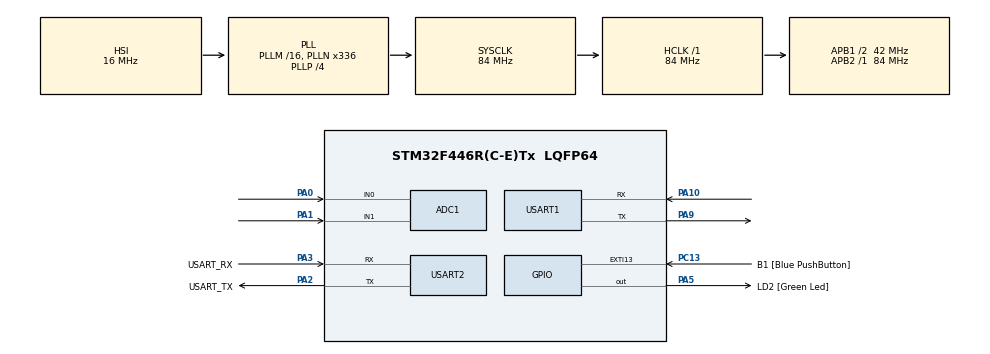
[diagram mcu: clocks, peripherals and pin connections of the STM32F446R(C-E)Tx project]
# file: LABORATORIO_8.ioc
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ADC1.Channel-0\#ChannelRegularConversion=ADC_CHANNEL_0
ADC1.Channel-1\#ChannelRegularConversion=ADC_CHANNEL_1
ADC1.ContinuousConvMode=ENABLE
ADC1.DMAContinuousRequests=ENABLE
ADC1.NbrOfConversion=2
ADC1.NbrOfConversionFlag=1
ADC1.Rank-0\#ChannelRegularConversion=1
ADC1.Rank-1\#ChannelRegularConversion=2
ADC1.SamplingTime-0\#ChannelRegularConversion=ADC_SAMPLETIME_3CYCLES
ADC1.SamplingTime-1\#ChannelRegularConversion=ADC_SAMPLETIME_3CYCLES
ADC1.ScanConvMode=ENABLE
ADC1.master=1
Dma.ADC1.0.Direction=DMA_PERIPH_TO_MEMORY
Dma.ADC1.0.FIFOMode=DMA_FIFOMODE_DISABLE
Dma.ADC1.0.Instance=DMA2_Stream0
Dma.ADC1.0.MemDataAlignment=DMA_MDATAALIGN_HALFWORD
Dma.ADC1.0.MemInc=DMA_MINC_ENABLE
Dma.ADC1.0.Mode=DMA_CIRCULAR
Dma.ADC1.0.PeriphDataAlignment=DMA_PDATAALIGN_HALFWORD
Dma.ADC1.0.PeriphInc=DMA_PINC_DISABLE
Dma.ADC1.0.Priority=DMA_PRIORITY_LOW
Dma.Request0=ADC1
Mcu.Family=STM32F4
Mcu.Name=STM32F446R(C-E)Tx
Mcu.Package=LQFP64
NVIC.ADC_IRQn=true\:0\:0\:false\:false\:true\:true\:true\:true
NVIC.DMA2_Stream0_IRQn=true\:0\:0\:false\:false\:true\:false\:true\:true
NVIC.PriorityGroup=NVIC_PRIORITYGROUP_0
NVIC.USART1_IRQn=true\:0\:0\:false\:false\:true\:true\:true\:true
NVIC.USART2_IRQn=true\:0\:0\:false\:false\:true\:true\:true\:true
PA0-WKUP.Signal=ADCx_IN0
PA1.Signal=ADCx_IN1
PA10.Mode=Asynchronous
PA10.Signal=USART1_RX
PA13.GPIO_Label=TMS
PA13.Mode=Serial_Wire
PA13.Signal=SYS_JTMS-SWDIO
PA14.GPIO_Label=TCK
PA14.Mode=Serial_Wire
PA14.Signal=SYS_JTCK-SWCLK
PA2.GPIO_Label=USART_TX
PA2.Mode=Asynchronous
PA2.Signal=USART2_TX
PA3.GPIO_Label=USART_RX
PA3.Mode=Asynchronous
PA3.Signal=USART2_RX
PA5.GPIO_Label=LD2 [Green Led]
PA5.Signal=GPIO_Output
PA9.Mode=Asynchronous
PA9.Signal=USART1_TX
PB3.GPIO_Label=SWO
PB3.Signal=SYS_JTDO-SWO
PC13.GPIO_Label=B1 [Blue PushButton]
PC13.GPIO_ModeDefaultEXTI=GPIO_MODE_IT_FALLING
PC13.Signal=GPXTI13
PC14-OSC32_IN.Mode=LSE-External-Oscillator
PC14-OSC32_IN.Signal=RCC_OSC32_IN
PC15-OSC32_OUT.Mode=LSE-External-Oscillator
PC15-OSC32_OUT.Signal=RCC_OSC32_OUT
PH0-OSC_IN.Mode=HSE-External-Oscillator
PH0-OSC_IN.Signal=RCC_OSC_IN
PH1-OSC_OUT.Mode=HSE-External-Oscillator
PH1-OSC_OUT.Signal=RCC_OSC_OUT
ProjectManager.HeapSize=0x200
ProjectManager.StackSize=0x400
ProjectManager.TargetToolchain=STM32CubeIDE
RCC.48MHZClocksFreq_Value=84000000
RCC.AHBFreq_Value=84000000
RCC.APB1CLKDivider=RCC_HCLK_DIV2
RCC.APB1Freq_Value=42000000
RCC.APB1TimFreq_Value=84000000
RCC.APB2Freq_Value=84000000
RCC.APB2TimFreq_Value=84000000
RCC.CortexFreq_Value=84000000
RCC.FLatency-AdvancedSettings=FLASH_LATENCY_2
RCC.HCLKFreq_Value=84000000
RCC.HSE_VALUE=8000000
RCC.HSI_VALUE=16000000
RCC.PLLN=336
RCC.PLLP=RCC_PLLP_DIV4
RCC.SYSCLKFreq_VALUE=84000000
RCC.SYSCLKSource=RCC_SYSCLKSOURCE_PLLCLK
RCC.USBFreq_Value=168000000
RCC.VCOOutputFreq_Value=336000000
SH.ADCx_IN0.0=ADC1_IN0,IN0
SH.ADCx_IN1.0=ADC1_IN1,IN1
USART1.VirtualMode=VM_ASYNC
USART2.VirtualMode=VM_ASYNC
board=NUCLEO-F446RE

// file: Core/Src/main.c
/* USER CODE BEGIN Header */
/**
  ******************************************************************************
  * @file           : main.c
  * @brief          : Main program body
  ******************************************************************************
  * @attention
  *
  * Copyright (c) 2026 STMicroelectronics.
  * All rights reserved.
  *
  * This software is licensed under terms that can be found in the LICENSE file
  * in the root directory of this software component.
  * If no LICENSE file comes with this software, it is provided AS-IS.
  *
  ******************************************************************************
  */
/* USER CODE END Header */
#include "main.h"

/* USER CODE BEGIN Includes */
#include <stdio.h>
/* USER CODE END Includes */

ADC_HandleTypeDef hadc1;
DMA_HandleTypeDef hdma_adc1;

UART_HandleTypeDef huart1;
UART_HandleTypeDef huart2;

/* USER CODE BEGIN PV */
volatile uint16_t ADC_VALOR[2] = {2048, 2048};
volatile uint8_t  C_ACTUAL = 0;
volatile uint8_t  ARDUINO = '-';
/* USER CODE END PV */

void SystemClock_Config(void);
static void MX_GPIO_Init(void);
static void MX_DMA_Init(void);
static void MX_ADC1_Init(void);
static void MX_USART2_UART_Init(void);
static void MX_USART1_UART_Init(void);

/* USER CODE BEGIN 0 */
int _write(int file, char *ptr, int len)
{
    HAL_UART_Transmit(&huart2, (uint8_t*)ptr, len, HAL_MAX_DELAY);
    return len;
}

void HAL_UART_RxCpltCallback(UART_HandleTypeDef *huart)
{
    if(huart->Instance == USART1)
    {
        HAL_UART_Receive_IT(&huart1, (uint8_t*)&ARDUINO, 1);
    }
}

void HAL_ADC_ConvCpltCallback(ADC_HandleTypeDef* hadc)
{
    if(hadc->Instance == ADC1)
    {
        ADC_VALOR[C_ACTUAL] = HAL_ADC_GetValue(hadc);
        C_ACTUAL = (C_ACTUAL == 0) ? 1 : 0;
    }
}
/* USER CODE END 0 */

int main(void)
{

  /* MCU Configuration--------------------------------------------------------*/

  /* Reset of all peripherals, Initializes the Flash interface and the Systick. */
  HAL_Init();

  /* Configure the system clock */
  SystemClock_Config();

  /* Initialize all configured peripherals */
  MX_GPIO_Init();
  MX_DMA_Init();
  MX_ADC1_Init();
  MX_USART2_UART_Init();
  MX_USART1_UART_Init();
  /* USER CODE BEGIN 2 */
  setbuf(stdout, NULL);
  HAL_UART_Receive_IT(&huart1, (uint8_t*)&ARDUINO, 1);
  HAL_ADC_Start_IT(&hadc1);
  /* USER CODE END 2 */

  /* Infinite loop */
  while (1)
  {

    /* USER CODE BEGIN 3 */
    HAL_GPIO_TogglePin(GPIOA, GPIO_PIN_5);

    if (ADC_VALOR[0] > 3500) {
        printf("ARRIBA\r\n");
    }
    else if (ADC_VALOR[0] < 500) {
        printf("ABAJO\r\n");
    }
    else if (ADC_VALOR[1] > 3500) {
        printf("DERECHA\r\n");
    }
    else if (ADC_VALOR[1] < 500) {
        printf("IZQUIERDA\r\n");
    }

    if (ARDUINO != '-') {
        printf("BOTON: %c\r\n", ARDUINO);
        ARDUINO = '-';
    }

    HAL_ADC_Start_IT(&hadc1);
    HAL_Delay(200);
  }
  /* USER CODE END 3 */
}

void SystemClock_Config(void)
{
  RCC_OscInitTypeDef RCC_OscInitStruct = {0};
  RCC_ClkInitTypeDef RCC_ClkInitStruct = {0};

  /** Configure the main internal regulator output voltage
  */
  __HAL_RCC_PWR_CLK_ENABLE();
  __HAL_PWR_VOLTAGESCALING_CONFIG(PWR_REGULATOR_VOLTAGE_SCALE3);

  /** Initializes the RCC Oscillators according to the specified parameters
  * in the RCC_OscInitTypeDef structure.
  */
  RCC_OscInitStruct.OscillatorType = RCC_OSCILLATORTYPE_HSI;
  RCC_OscInitStruct.HSIState = RCC_HSI_ON;
  RCC_OscInitStruct.HSICalibrationValue = RCC_HSICALIBRATION_DEFAULT;
  RCC_OscInitStruct.PLL.PLLState = RCC_PLL_ON;
  RCC_OscInitStruct.PLL.PLLSource = RCC_PLLSOURCE_HSI;
  RCC_OscInitStruct.PLL.PLLM = 16;
  RCC_OscInitStruct.PLL.PLLN = 336;
  RCC_OscInitStruct.PLL.PLLP = RCC_PLLP_DIV4;
  RCC_OscInitStruct.PLL.PLLQ = 2;
  RCC_OscInitStruct.PLL.PLLR = 2;
  if (HAL_RCC_OscConfig(&RCC_OscInitStruct) != HAL_OK)
  {
    Error_Handler();
  }

  /** Initializes the CPU, AHB and APB buses clocks
  */
  RCC_ClkInitStruct.ClockType = RCC_CLOCKTYPE_HCLK|RCC_CLOCKTYPE_SYSCLK
                              |RCC_CLOCKTYPE_PCLK1|RCC_CLOCKTYPE_PCLK2;
  RCC_ClkInitStruct.SYSCLKSource = RCC_SYSCLKSOURCE_PLLCLK;
  RCC_ClkInitStruct.AHBCLKDivider = RCC_SYSCLK_DIV1;
  RCC_ClkInitStruct.APB1CLKDivider = RCC_HCLK_DIV2;
  RCC_ClkInitStruct.APB2CLKDivider = RCC_HCLK_DIV1;

  if (HAL_RCC_ClockConfig(&RCC_ClkInitStruct, FLASH_LATENCY_2) != HAL_OK)
  {
    Error_Handler();
  }
}

static void MX_ADC1_Init(void)
{

  ADC_ChannelConfTypeDef sConfig = {0};

  /** Configure the global features of the ADC (Clock, Resolution, Data Alignment and number of conversion)
  */
  hadc1.Instance = ADC1;
  hadc1.Init.ClockPrescaler = ADC_CLOCK_SYNC_PCLK_DIV4;
  hadc1.Init.Resolution = ADC_RESOLUTION_12B;
  hadc1.Init.ScanConvMode = ENABLE;
  hadc1.Init.ContinuousConvMode = ENABLE;
  hadc1.Init.DiscontinuousConvMode = DISABLE;
  hadc1.Init.ExternalTrigConvEdge = ADC_EXTERNALTRIGCONVEDGE_NONE;
  hadc1.Init.ExternalTrigConv = ADC_SOFTWARE_START;
  hadc1.Init.DataAlign = ADC_DATAALIGN_RIGHT;
  hadc1.Init.NbrOfConversion = 2;
  hadc1.Init.DMAContinuousRequests = ENABLE;
  hadc1.Init.EOCSelection = ADC_EOC_SINGLE_CONV;
  if (HAL_ADC_Init(&hadc1) != HAL_OK)
  {
    Error_Handler();
  }

  /** Configure for the selected ADC regular channel its corresponding rank in the sequencer and its sample time.
  */
  sConfig.Channel = ADC_CHANNEL_0;
  sConfig.Rank = 1;
  sConfig.SamplingTime = ADC_SAMPLETIME_3CYCLES;
  if (HAL_ADC_ConfigChannel(&hadc1, &sConfig) != HAL_OK)
  {
    Error_Handler();
  }

  /** Configure for the selected ADC regular channel its corresponding rank in the sequencer and its sample time.
  */
  sConfig.Channel = ADC_CHANNEL_1;
  sConfig.Rank = 2;
  if (HAL_ADC_ConfigChannel(&hadc1, &sConfig) != HAL_OK)
  {
    Error_Handler();
  }

}

static void MX_USART1_UART_Init(void)
{

  huart1.Instance = USART1;
  huart1.Init.BaudRate = 115200;
  huart1.Init.WordLength = UART_WORDLENGTH_8B;
  huart1.Init.StopBits = UART_STOPBITS_1;
  huart1.Init.Parity = UART_PARITY_NONE;
  huart1.Init.Mode = UART_MODE_TX_RX;
  huart1.Init.HwFlowCtl = UART_HWCONTROL_NONE;
  huart1.Init.OverSampling = UART_OVERSAMPLING_16;
  if (HAL_UART_Init(&huart1) != HAL_OK)
  {
    Error_Handler();
  }

}

static void MX_USART2_UART_Init(void)
{

  huart2.Instance = USART2;
  huart2.Init.BaudRate = 115200;
  huart2.Init.WordLength = UART_WORDLENGTH_8B;
  huart2.Init.StopBits = UART_STOPBITS_1;
  huart2.Init.Parity = UART_PARITY_NONE;
  huart2.Init.Mode = UART_MODE_TX_RX;
  huart2.Init.HwFlowCtl = UART_HWCONTROL_NONE;
  huart2.Init.OverSampling = UART_OVERSAMPLING_16;
  if (HAL_UART_Init(&huart2) != HAL_OK)
  {
    Error_Handler();
  }

}

static void MX_DMA_Init(void)
{

  /* DMA controller clock enable */
  __HAL_RCC_DMA2_CLK_ENABLE();

  /* DMA interrupt init */
  /* DMA2_Stream0_IRQn interrupt configuration */
  HAL_NVIC_SetPriority(DMA2_Stream0_IRQn, 0, 0);
  HAL_NVIC_EnableIRQ(DMA2_Stream0_IRQn);

}

static void MX_GPIO_Init(void)
{
  GPIO_InitTypeDef GPIO_InitStruct = {0};

  /* GPIO Ports Clock Enable */
  __HAL_RCC_GPIOC_CLK_ENABLE();
  __HAL_RCC_GPIOH_CLK_ENABLE();
  __HAL_RCC_GPIOA_CLK_ENABLE();
  __HAL_RCC_GPIOB_CLK_ENABLE();

  /*Configure GPIO pin Output Level */
  HAL_GPIO_WritePin(LD2_GPIO_Port, LD2_Pin, GPIO_PIN_RESET);

  /*Configure GPIO pin : B1_Pin */
  GPIO_InitStruct.Pin = B1_Pin;
  GPIO_InitStruct.Mode = GPIO_MODE_IT_FALLING;
  GPIO_InitStruct.Pull = GPIO_NOPULL;
  HAL_GPIO_Init(B1_GPIO_Port, &GPIO_InitStruct);

  /*Configure GPIO pin : LD2_Pin */
  GPIO_InitStruct.Pin = LD2_Pin;
  GPIO_InitStruct.Mode = GPIO_MODE_OUTPUT_PP;
  GPIO_InitStruct.Pull = GPIO_NOPULL;
  GPIO_InitStruct.Speed = GPIO_SPEED_FREQ_LOW;
  HAL_GPIO_Init(LD2_GPIO_Port, &GPIO_InitStruct);

}

void Error_Handler(void)
{
  __disable_irq();
  while (1)
  {
  }
}
